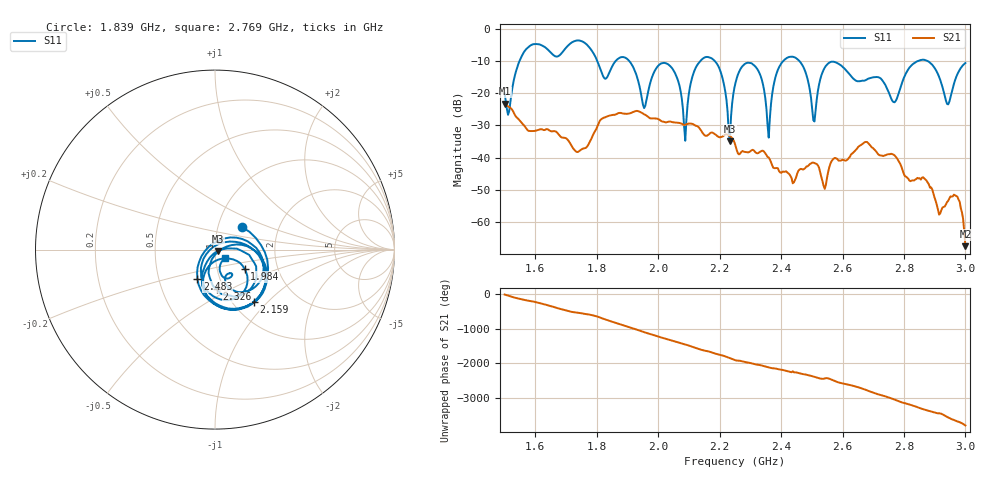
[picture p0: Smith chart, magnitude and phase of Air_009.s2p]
# HZ S RI R 50
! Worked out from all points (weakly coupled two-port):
!   404 points, 1.5 GHz to 3 GHz, reference 50 ohm
!   highest |S21| = -23.29 dB at 1.5 GHz (marker M1); lowest = -67.4 dB at 3 GHz (marker M2)
!   lowest |S11| = -34.9 dB at 2.233 GHz (marker M3), VSWR 1.04, Z = 51.6 - j0.806 ohm
!   |S11| at or under -10 dB: 1.905 GHz to 2.138 GHz (232.7 MHz wide, 11.5 % of centre); 2.184 GHz to 2.407 GHz (223.8 MHz wide, 9.75 % of centre); 2.459 GHz to 2.847 GHz (388.4 MHz wide, 14.6 % of centre) (the widest 3 of 6)
!   S12 and S22 are empty: the file has one direction only
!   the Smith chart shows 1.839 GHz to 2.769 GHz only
!   S11 on the Smith chart (normalised r, x): 1.839 GHz: 1.31, +0.34; 1.984 GHz: 1.36, -0.31; 2.159 GHz: 1.24, -0.84; 2.326 GHz: 0.92, -0.43; 2.483 GHz: 0.78, -0.27; 2.769 GHz: 1.11, -0.11
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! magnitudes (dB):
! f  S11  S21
! 1.5 GHz  -20.2  -23.3
! 1.582 GHz  -5.4  -31.7
! 1.753 GHz  -4.0  -37.3
! 1.839 GHz  -14.1  -27.1
! 1.954 GHz  -24.6  -26.6
! 1.984 GHz  -14.1  -27.8
! 2.002 GHz  -11.3  -28.1
! 2.088 GHz  -34.7  -29.8
! 2.159 GHz  -8.8  -33.2
! 2.233 GHz  -34.9  -33.3
! 2.252 GHz  -16.7  -36.4
! 2.326 GHz  -13.1  -38.6
! 2.36 GHz  -33.8  -39.9
! 2.408 GHz  -9.9  -44.3
! 2.483 GHz  -14.4  -42.7
! 2.501 GHz  -24.8  -41.5
! 2.565 GHz  -10.3  -41.1
! 2.751 GHz  -19.8  -38.9
! 2.769 GHz  -22.8  -39.3
! 2.847 GHz  -10.0  -46.4
! 2.97 GHz  -15.0  -51.9
! 3 GHz  -10.7  -67.4
